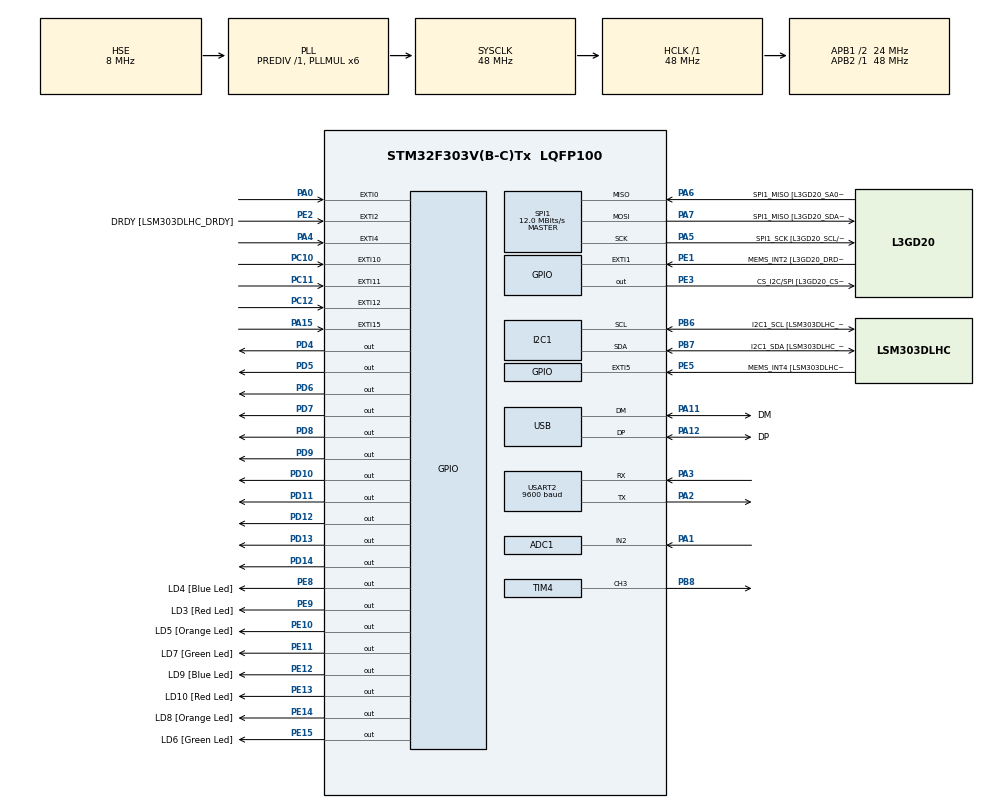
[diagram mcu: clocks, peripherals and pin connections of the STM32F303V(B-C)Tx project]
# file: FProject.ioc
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ADC1.Channel-0\#ChannelRegularConversion=ADC_CHANNEL_2
ADC1.NbrOfConversionFlag=1
ADC1.Offset-0\#ChannelRegularConversion=0
ADC1.OffsetNumber-0\#ChannelRegularConversion=ADC_OFFSET_NONE
ADC1.Rank-0\#ChannelRegularConversion=1
ADC1.SamplingTime-0\#ChannelRegularConversion=ADC_SAMPLETIME_601CYCLES_5
ADC1.SamplingTimeOPAMP-0\#ChannelRegularConversion=ADC_SAMPLETIME_19CYCLES_5
ADC1.master=1
I2C1.Timing=0x2000090E
I2C1.Timing-I2C=0x2000090E
Mcu.Family=STM32F3
Mcu.Name=STM32F303V(B-C)Tx
Mcu.Package=LQFP100
NVIC.ADC1_2_IRQn=true\:0\:0\:false\:false\:true\:true\:true\:true
NVIC.EXTI0_IRQn=true\:0\:0\:false\:false\:true\:true\:true\:true
NVIC.EXTI15_10_IRQn=true\:0\:0\:false\:false\:true\:true\:true\:true
NVIC.EXTI4_IRQn=true\:1\:0\:true\:false\:true\:true\:true\:true
NVIC.PriorityGroup=NVIC_PRIORITYGROUP_1
NVIC.TIM2_IRQn=true\:0\:0\:true\:false\:true\:true\:true\:true
NVIC.TIM3_IRQn=true\:1\:0\:true\:false\:true\:true\:true\:true
NVIC.USART2_IRQn=true\:0\:0\:false\:false\:true\:true\:true\:true
PA0.Signal=GPXTI0
PA1.Mode=IN2-Single-Ended
PA1.Signal=ADC1_IN2
PA11.GPIO_Label=DM
PA11.Mode=Device
PA11.Signal=USB_DM
PA12.GPIO_Label=DP
PA12.Mode=Device
PA12.Signal=USB_DP
PA13.GPIO_Label=SWDIO
PA13.Mode=Serial_Wire
PA13.Signal=SYS_JTMS-SWDIO
PA14.GPIO_Label=SWCLK
PA14.Mode=Serial_Wire
PA14.Signal=SYS_JTCK-SWCLK
PA15.GPIO_PuPd=GPIO_PULLDOWN
PA15.Signal=GPXTI15
PA2.Mode=Asynchronous
PA2.Signal=USART2_TX
PA3.Mode=Asynchronous
PA3.Signal=USART2_RX
PA4.Signal=GPXTI4
PA5.GPIO_Label=SPI1_SCK [L3GD20_SCL/SPC]
PA5.Mode=Full_Duplex_Master
PA5.Signal=SPI1_SCK
PA6.GPIO_Label=SPI1_MISO [L3GD20_SA0/SDO]
PA6.Mode=Full_Duplex_Master
PA6.Signal=SPI1_MISO
PA7.GPIO_Label=SPI1_MISO [L3GD20_SDA/SDI/SDO]
PA7.Mode=Full_Duplex_Master
PA7.Signal=SPI1_MOSI
PB3.GPIO_Label=SWO
PB3.Signal=SYS_JTDO-TRACESWO
PB6.GPIO_Label=I2C1_SCL [LSM303DLHC_SCL]
PB6.GPIO_Pu=GPIO_PULLUP
PB6.Mode=I2C
PB6.Signal=I2C1_SCL
PB7.GPIO_Label=I2C1_SDA [LSM303DLHC_SDA]
PB7.GPIO_Pu=GPIO_PULLUP
PB7.Mode=I2C
PB7.Signal=I2C1_SDA
PB8.Signal=S_TIM4_CH3
PC10.GPIO_PuPd=GPIO_PULLDOWN
PC10.Signal=GPXTI10
PC11.GPIO_PuPd=GPIO_PULLDOWN
PC11.Signal=GPXTI11
PC12.GPIO_PuPd=GPIO_PULLDOWN
PC12.Signal=GPXTI12
PC14-OSC32_IN.GPIO_Label=OSC32_IN
PC14-OSC32_IN.Signal=RCC_OSC32_IN
PC15-OSC32_OUT.GPIO_Label=OSC32_OUT
PC15-OSC32_OUT.Signal=RCC_OSC32_OUT
PD10.Signal=GPIO_Output
PD11.Signal=GPIO_Output
PD12.Signal=GPIO_Output
PD13.Signal=GPIO_Output
PD14.Signal=GPIO_Output
PD4.GPIO_PuPd=GPIO_NOPULL
PD4.Signal=GPIO_Output
PD5.GPIO_PuPd=GPIO_NOPULL
PD5.Signal=GPIO_Output
PD6.GPIO_PuPd=GPIO_NOPULL
PD6.Signal=GPIO_Output
PD7.GPIO_PuPd=GPIO_NOPULL
PD7.Signal=GPIO_Output
PD8.Signal=GPIO_Output
PD9.Signal=GPIO_Output
PE1.GPIO_Label=MEMS_INT2 [L3GD20_DRDY/INT2]
PE1.GPIO_ModeDefaultEXTI=GPIO_MODE_EVT_RISING
PE1.Signal=GPXTI1
PE10.GPIO_Label=LD5 [Orange Led]
PE10.Signal=GPIO_Output
PE11.GPIO_Label=LD7 [Green Led]
PE11.Signal=GPIO_Output
PE12.GPIO_Label=LD9 [Blue Led]
PE12.Signal=GPIO_Output
PE13.GPIO_Label=LD10 [Red Led]
PE13.Signal=GPIO_Output
PE14.GPIO_Label=LD8 [Orange Led]
PE14.Signal=GPIO_Output
PE15.GPIO_Label=LD6 [Green Led]
PE15.Signal=GPIO_Output
PE2.GPIO_Label=DRDY [LSM303DLHC_DRDY]
PE2.GPIO_ModeDefaultEXTI=GPIO_MODE_EVT_RISING
PE2.Signal=GPXTI2
PE3.GPIO_Label=CS_I2C/SPI [L3GD20_CS_I2C/SPI]
PE3.Signal=GPIO_Output
PE5.GPIO_Label=MEMS_INT4 [LSM303DLHC_INT2]
PE5.GPIO_ModeDefaultEXTI=GPIO_MODE_EVT_RISING
PE5.Signal=GPXTI5
PE8.GPIO_Label=LD4 [Blue Led]
PE8.Signal=GPIO_Output
PE9.GPIO_Label=LD3 [Red Led]
PE9.Signal=GPIO_Output
PF0-OSC_IN.GPIO_Label=OSC_IN
PF0-OSC_IN.Mode=HSE-External-Clock-Source
PF0-OSC_IN.Signal=RCC_OSC_IN
PF1-OSC_OUT.GPIO_Label=OSC_OUT
PF1-OSC_OUT.Signal=RCC_OSC_OUT
ProjectManager.HeapSize=0x200
ProjectManager.StackSize=0x400
ProjectManager.TargetToolchain=STM32CubeIDE
RCC.AHBFreq_Value=48000000
RCC.APB1CLKDivider=RCC_HCLK_DIV2
RCC.APB1Freq_Value=24000000
RCC.APB1TimFreq_Value=48000000
RCC.APB2Freq_Value=48000000
RCC.APB2TimFreq_Value=48000000
RCC.CortexFreq_Value=48000000
RCC.HCLKFreq_Value=48000000
RCC.HSE_VALUE=8000000
RCC.HSI_VALUE=8000000
RCC.LSE_VALUE=32768
RCC.PLLMUL=RCC_PLL_MUL6
RCC.SYSCLKFreq_VALUE=48000000
RCC.SYSCLKSourceVirtual=RCC_SYSCLKSOURCE_PLLCLK
RCC.USBFreq_Value=48000000
SH.S_TIM4_CH3.0=TIM4_CH3,PWM Generation3 CH3
SPI1.BaudRatePrescaler=SPI_BAUDRATEPRESCALER_4
SPI1.BaudRatePrescaler-Full_Duplex_Master=SPI_BAUDRATEPRESCALER_2
SPI1.CalculateBaudRate=12.0 MBits/s
SPI1.CalculateBaudRate-Full_Duplex_Master=24.0 MBits/s
SPI1.Direction=SPI_DIRECTION_2LINES
SPI1.Mode=SPI_MODE_MASTER
SPI1.Mode-Full_Duplex_Master=SPI_MODE_MASTER
SPI1.VirtualType=VM_MASTER
TIM2.Period=10000
TIM2.Prescaler=2399
TIM3.Period=9999
TIM3.Prescaler=2399
TIM4.Channel-PWM\ Generation3\ CH3=TIM_CHANNEL_3
USART2.BaudRate=9600
USART2.VirtualMode-Asynchronous=VM_ASYNC
VP_TIM2_VS_ClockSourceINT.Mode=Internal
VP_TIM3_VS_ClockSourceINT.Mode=Internal
board=STM32F3DISCOVERY

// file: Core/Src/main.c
/* USER CODE BEGIN Header */
/**
 ******************************************************************************
 * @file           : main.c
 * @brief          : Main program body
 ******************************************************************************
 * @attention
 *
 * Copyright (c) 2023 STMicroelectronics.
 * All rights reserved.
 *
 * This software is licensed under terms that can be found in the LICENSE file
 * in the root directory of this software component.
 * If no LICENSE file comes with this software, it is provided AS-IS.
 *
 ******************************************************************************
 */
/* USER CODE END Header */
#include "main.h"

/* USER CODE BEGIN Includes */
float fx = 10;
#include <stdio.h>
#include "LiquidCrystal.h"
/* USER CODE END Includes */

ADC_HandleTypeDef hadc1;

I2C_HandleTypeDef hi2c1;

SPI_HandleTypeDef hspi1;

TIM_HandleTypeDef htim2;
TIM_HandleTypeDef htim3;
TIM_HandleTypeDef htim4;

UART_HandleTypeDef huart2;

PCD_HandleTypeDef hpcd_USB_FS;

/* USER CODE BEGIN PV */
typedef enum {MAIN = 1, LED, SECURITY, SLEEP, SENARIO, TEMPRETURE,OUT,PARTY,PIR} states;
int cFlag = 1;
state = MAIN;
unsigned char str[1];
//
int digitNo = 0;
char passwd[5] = "0000";
//
TIM_HandleTypeDef *buzzerPwmTimer;
uint32_t buzzerPwmChannel;

GPIO_TypeDef *const Row_ports[] = { GPIOA, GPIOC, GPIOC, GPIOC };
const uint16_t Row_pins[] = { GPIO_PIN_15, GPIO_PIN_10, GPIO_PIN_11,
GPIO_PIN_12 };
// Output pins: Column1 PD4, Column2 PD6, Column3 PB3, Column4 PB5
GPIO_TypeDef *const Column_ports[] = { GPIOD, GPIOD, GPIOD, GPIOD };
const uint16_t Column_pins[] =
		{ GPIO_PIN_4, GPIO_PIN_5, GPIO_PIN_6, GPIO_PIN_7 };
volatile uint32_t last_gpio_exti;
/* USER CODE END PV */

void SystemClock_Config(void);
static void MX_GPIO_Init(void);
static void MX_I2C1_Init(void);
static void MX_SPI1_Init(void);
static void MX_USB_PCD_Init(void);
static void MX_ADC1_Init(void);
static void MX_USART2_UART_Init(void);
static void MX_TIM2_Init(void);
static void MX_TIM3_Init(void);
static void MX_TIM4_Init(void);

/* USER CODE BEGIN 0 */
//  HAL_ADC_Start_IT(&hadc1);
void buzzerInit() {
	buzzerPwmTimer = &htim4;
	buzzerPwmChannel = TIM_CHANNEL_3;
	HAL_TIM_PWM_Start(buzzerPwmTimer, buzzerPwmChannel);
}
//
void buzzerChangeTone(uint16_t freq, uint16_t volume) {
	if (freq == 0 || freq > 20000) {
		__HAL_TIM_SET_COMPARE(buzzerPwmTimer, buzzerPwmChannel, 0);
	} else {
		const uint32_t internalClockFreq = HAL_RCC_GetSysClockFreq();
		const uint32_t prescaler = 1 + internalClockFreq / freq / 60000;
		const uint32_t timerClock = internalClockFreq / prescaler;
		const uint32_t periodCycles = timerClock / freq;
		const uint32_t pulseWidth = volume * periodCycles / 1000 / 2;

		buzzerPwmTimer->Instance->PSC = prescaler - 1;
		buzzerPwmTimer->Instance->ARR = periodCycles - 1;
		buzzerPwmTimer->Instance->EGR = TIM_EGR_UG;

		__HAL_TIM_SET_COMPARE(buzzerPwmTimer, buzzerPwmChannel, pulseWidth);
	}
}
/* USER CODE END 0 */

int main(void)
{

  /* MCU Configuration--------------------------------------------------------*/

  /* Reset of all peripherals, Initializes the Flash interface and the Systick. */
  HAL_Init();

  /* Configure the system clock */
  SystemClock_Config();

  /* Initialize all configured peripherals */
  MX_GPIO_Init();
  MX_I2C1_Init();
  MX_SPI1_Init();
  MX_USB_PCD_Init();
  MX_ADC1_Init();
  MX_USART2_UART_Init();
  MX_TIM2_Init();
  MX_TIM3_Init();
  MX_TIM4_Init();
  /* USER CODE BEGIN 2 */

	LiquidCrystal(GPIOD, GPIO_PIN_8, GPIO_PIN_9, GPIO_PIN_10, GPIO_PIN_11,
	GPIO_PIN_12, GPIO_PIN_13, GPIO_PIN_14);
	begin(20, 4);
//	clear();
//	print("Hello, World!");
//	HAL_Delay(1000);
//	clear();
//	print("hey");
	HAL_TIM_Base_Start_IT(&htim2);
	HAL_TIM_Base_Start_IT(&htim3);
//	HAL_TIM_Base_Start_IT(&htim4);

	HAL_TIM_PWM_Start(&htim4, TIM_CHANNEL_3);
	buzzerInit();
//	buzzerChangeTone(100, 10);
	HAL_GPIO_WritePin(GPIOD, GPIO_PIN_4 | GPIO_PIN_5 | GPIO_PIN_6 | GPIO_PIN_7,
			1);

  /* USER CODE END 2 */

  /* Infinite loop */
  /* USER CODE BEGIN WHILE */
	HAL_ADC_Start_IT(&hadc1);

	while (1) {
    /* USER CODE END WHILE */

    /* USER CODE BEGIN 3 */
		// HAL_UART_Transmit(&huart2,data,n,1000);
	}
  /* USER CODE END 3 */
}

void SystemClock_Config(void)
{
  RCC_OscInitTypeDef RCC_OscInitStruct = {0};
  RCC_ClkInitTypeDef RCC_ClkInitStruct = {0};
  RCC_PeriphCLKInitTypeDef PeriphClkInit = {0};

  /** Initializes the RCC Oscillators according to the specified parameters
  * in the RCC_OscInitTypeDef structure.
  */
  RCC_OscInitStruct.OscillatorType = RCC_OSCILLATORTYPE_HSI|RCC_OSCILLATORTYPE_HSE;
  RCC_OscInitStruct.HSEState = RCC_HSE_BYPASS;
  RCC_OscInitStruct.HSEPredivValue = RCC_HSE_PREDIV_DIV1;
  RCC_OscInitStruct.HSIState = RCC_HSI_ON;
  RCC_OscInitStruct.HSICalibrationValue = RCC_HSICALIBRATION_DEFAULT;
  RCC_OscInitStruct.PLL.PLLState = RCC_PLL_ON;
  RCC_OscInitStruct.PLL.PLLSource = RCC_PLLSOURCE_HSE;
  RCC_OscInitStruct.PLL.PLLMUL = RCC_PLL_MUL6;
  if (HAL_RCC_OscConfig(&RCC_OscInitStruct) != HAL_OK)
  {
    Error_Handler();
  }

  /** Initializes the CPU, AHB and APB buses clocks
  */
  RCC_ClkInitStruct.ClockType = RCC_CLOCKTYPE_HCLK|RCC_CLOCKTYPE_SYSCLK
                              |RCC_CLOCKTYPE_PCLK1|RCC_CLOCKTYPE_PCLK2;
  RCC_ClkInitStruct.SYSCLKSource = RCC_SYSCLKSOURCE_PLLCLK;
  RCC_ClkInitStruct.AHBCLKDivider = RCC_SYSCLK_DIV1;
  RCC_ClkInitStruct.APB1CLKDivider = RCC_HCLK_DIV2;
  RCC_ClkInitStruct.APB2CLKDivider = RCC_HCLK_DIV1;

  if (HAL_RCC_ClockConfig(&RCC_ClkInitStruct, FLASH_LATENCY_1) != HAL_OK)
  {
    Error_Handler();
  }
  PeriphClkInit.PeriphClockSelection = RCC_PERIPHCLK_USB|RCC_PERIPHCLK_USART2
                              |RCC_PERIPHCLK_I2C1|RCC_PERIPHCLK_ADC12;
  PeriphClkInit.Usart2ClockSelection = RCC_USART2CLKSOURCE_PCLK1;
  PeriphClkInit.Adc12ClockSelection = RCC_ADC12PLLCLK_DIV1;
  PeriphClkInit.I2c1ClockSelection = RCC_I2C1CLKSOURCE_HSI;
  PeriphClkInit.USBClockSelection = RCC_USBCLKSOURCE_PLL;
  if (HAL_RCCEx_PeriphCLKConfig(&PeriphClkInit) != HAL_OK)
  {
    Error_Handler();
  }
}

static void MX_ADC1_Init(void)
{

  ADC_MultiModeTypeDef multimode = {0};
  ADC_ChannelConfTypeDef sConfig = {0};

  /** Common config
  */
  hadc1.Instance = ADC1;
  hadc1.Init.ClockPrescaler = ADC_CLOCK_ASYNC_DIV1;
  hadc1.Init.Resolution = ADC_RESOLUTION_12B;
  hadc1.Init.ScanConvMode = ADC_SCAN_DISABLE;
  hadc1.Init.ContinuousConvMode = DISABLE;
  hadc1.Init.DiscontinuousConvMode = DISABLE;
  hadc1.Init.ExternalTrigConvEdge = ADC_EXTERNALTRIGCONVEDGE_NONE;
  hadc1.Init.ExternalTrigConv = ADC_SOFTWARE_START;
  hadc1.Init.DataAlign = ADC_DATAALIGN_RIGHT;
  hadc1.Init.NbrOfConversion = 1;
  hadc1.Init.DMAContinuousRequests = DISABLE;
  hadc1.Init.EOCSelection = ADC_EOC_SINGLE_CONV;
  hadc1.Init.LowPowerAutoWait = DISABLE;
  hadc1.Init.Overrun = ADC_OVR_DATA_OVERWRITTEN;
  if (HAL_ADC_Init(&hadc1) != HAL_OK)
  {
    Error_Handler();
  }

  /** Configure the ADC multi-mode
  */
  multimode.Mode = ADC_MODE_INDEPENDENT;
  if (HAL_ADCEx_MultiModeConfigChannel(&hadc1, &multimode) != HAL_OK)
  {
    Error_Handler();
  }

  /** Configure Regular Channel
  */
  sConfig.Channel = ADC_CHANNEL_2;
  sConfig.Rank = ADC_REGULAR_RANK_1;
  sConfig.SingleDiff = ADC_SINGLE_ENDED;
  sConfig.SamplingTime = ADC_SAMPLETIME_601CYCLES_5;
  sConfig.OffsetNumber = ADC_OFFSET_NONE;
  sConfig.Offset = 0;
  if (HAL_ADC_ConfigChannel(&hadc1, &sConfig) != HAL_OK)
  {
    Error_Handler();
  }

}

static void MX_I2C1_Init(void)
{

  hi2c1.Instance = I2C1;
  hi2c1.Init.Timing = 0x2000090E;
  hi2c1.Init.OwnAddress1 = 0;
  hi2c1.Init.AddressingMode = I2C_ADDRESSINGMODE_7BIT;
  hi2c1.Init.DualAddressMode = I2C_DUALADDRESS_DISABLE;
  hi2c1.Init.OwnAddress2 = 0;
  hi2c1.Init.OwnAddress2Masks = I2C_OA2_NOMASK;
  hi2c1.Init.GeneralCallMode = I2C_GENERALCALL_DISABLE;
  hi2c1.Init.NoStretchMode = I2C_NOSTRETCH_DISABLE;
  if (HAL_I2C_Init(&hi2c1) != HAL_OK)
  {
    Error_Handler();
  }

  /** Configure Analogue filter
  */
  if (HAL_I2CEx_ConfigAnalogFilter(&hi2c1, I2C_ANALOGFILTER_ENABLE) != HAL_OK)
  {
    Error_Handler();
  }

  /** Configure Digital filter
  */
  if (HAL_I2CEx_ConfigDigitalFilter(&hi2c1, 0) != HAL_OK)
  {
    Error_Handler();
  }

}

static void MX_SPI1_Init(void)
{

  /* SPI1 parameter configuration*/
  hspi1.Instance = SPI1;
  hspi1.Init.Mode = SPI_MODE_MASTER;
  hspi1.Init.Direction = SPI_DIRECTION_2LINES;
  hspi1.Init.DataSize = SPI_DATASIZE_4BIT;
  hspi1.Init.CLKPolarity = SPI_POLARITY_LOW;
  hspi1.Init.CLKPhase = SPI_PHASE_1EDGE;
  hspi1.Init.NSS = SPI_NSS_SOFT;
  hspi1.Init.BaudRatePrescaler = SPI_BAUDRATEPRESCALER_4;
  hspi1.Init.FirstBit = SPI_FIRSTBIT_MSB;
  hspi1.Init.TIMode = SPI_TIMODE_DISABLE;
  hspi1.Init.CRCCalculation = SPI_CRCCALCULATION_DISABLE;
  hspi1.Init.CRCPolynomial = 7;
  hspi1.Init.CRCLength = SPI_CRC_LENGTH_DATASIZE;
  hspi1.Init.NSSPMode = SPI_NSS_PULSE_ENABLE;
  if (HAL_SPI_Init(&hspi1) != HAL_OK)
  {
    Error_Handler();
  }

}

static void MX_TIM2_Init(void)
{

  TIM_ClockConfigTypeDef sClockSourceConfig = {0};
  TIM_MasterConfigTypeDef sMasterConfig = {0};

  htim2.Instance = TIM2;
  htim2.Init.Prescaler = 2399;
  htim2.Init.CounterMode = TIM_COUNTERMODE_UP;
  htim2.Init.Period = 10000;
  htim2.Init.ClockDivision = TIM_CLOCKDIVISION_DIV1;
  htim2.Init.AutoReloadPreload = TIM_AUTORELOAD_PRELOAD_DISABLE;
  if (HAL_TIM_Base_Init(&htim2) != HAL_OK)
  {
    Error_Handler();
  }
  sClockSourceConfig.ClockSource = TIM_CLOCKSOURCE_INTERNAL;
  if (HAL_TIM_ConfigClockSource(&htim2, &sClockSourceConfig) != HAL_OK)
  {
    Error_Handler();
  }
  sMasterConfig.MasterOutputTrigger = TIM_TRGO_RESET;
  sMasterConfig.MasterSlaveMode = TIM_MASTERSLAVEMODE_DISABLE;
  if (HAL_TIMEx_MasterConfigSynchronization(&htim2, &sMasterConfig) != HAL_OK)
  {
    Error_Handler();
  }

}

static void MX_TIM3_Init(void)
{

  TIM_ClockConfigTypeDef sClockSourceConfig = {0};
  TIM_MasterConfigTypeDef sMasterConfig = {0};

  htim3.Instance = TIM3;
  htim3.Init.Prescaler = 2399;
  htim3.Init.CounterMode = TIM_COUNTERMODE_UP;
  htim3.Init.Period = 9999;
  htim3.Init.ClockDivision = TIM_CLOCKDIVISION_DIV1;
  htim3.Init.AutoReloadPreload = TIM_AUTORELOAD_PRELOAD_DISABLE;
  if (HAL_TIM_Base_Init(&htim3) != HAL_OK)
  {
    Error_Handler();
  }
  sClockSourceConfig.ClockSource = TIM_CLOCKSOURCE_INTERNAL;
  if (HAL_TIM_ConfigClockSource(&htim3, &sClockSourceConfig) != HAL_OK)
  {
    Error_Handler();
  }
  sMasterConfig.MasterOutputTrigger = TIM_TRGO_RESET;
  sMasterConfig.MasterSlaveMode = TIM_MASTERSLAVEMODE_DISABLE;
  if (HAL_TIMEx_MasterConfigSynchronization(&htim3, &sMasterConfig) != HAL_OK)
  {
    Error_Handler();
  }

}

static void MX_TIM4_Init(void)
{

  TIM_MasterConfigTypeDef sMasterConfig = {0};
  TIM_OC_InitTypeDef sConfigOC = {0};

  htim4.Instance = TIM4;
  htim4.Init.Prescaler = 0;
  htim4.Init.CounterMode = TIM_COUNTERMODE_UP;
  htim4.Init.Period = 65535;
  htim4.Init.ClockDivision = TIM_CLOCKDIVISION_DIV1;
  htim4.Init.AutoReloadPreload = TIM_AUTORELOAD_PRELOAD_DISABLE;
  if (HAL_TIM_PWM_Init(&htim4) != HAL_OK)
  {
    Error_Handler();
  }
  sMasterConfig.MasterOutputTrigger = TIM_TRGO_RESET;
  sMasterConfig.MasterSlaveMode = TIM_MASTERSLAVEMODE_DISABLE;
  if (HAL_TIMEx_MasterConfigSynchronization(&htim4, &sMasterConfig) != HAL_OK)
  {
    Error_Handler();
  }
  sConfigOC.OCMode = TIM_OCMODE_PWM1;
  sConfigOC.Pulse = 0;
  sConfigOC.OCPolarity = TIM_OCPOLARITY_HIGH;
  sConfigOC.OCFastMode = TIM_OCFAST_DISABLE;
  if (HAL_TIM_PWM_ConfigChannel(&htim4, &sConfigOC, TIM_CHANNEL_3) != HAL_OK)
  {
    Error_Handler();
  }
  HAL_TIM_MspPostInit(&htim4);

}

static void MX_USART2_UART_Init(void)
{

  huart2.Instance = USART2;
  huart2.Init.BaudRate = 9600;
  huart2.Init.WordLength = UART_WORDLENGTH_8B;
  huart2.Init.StopBits = UART_STOPBITS_1;
  huart2.Init.Parity = UART_PARITY_NONE;
  huart2.Init.Mode = UART_MODE_TX_RX;
  huart2.Init.HwFlowCtl = UART_HWCONTROL_NONE;
  huart2.Init.OverSampling = UART_OVERSAMPLING_16;
  huart2.Init.OneBitSampling = UART_ONE_BIT_SAMPLE_DISABLE;
  huart2.AdvancedInit.AdvFeatureInit = UART_ADVFEATURE_NO_INIT;
  if (HAL_UART_Init(&huart2) != HAL_OK)
  {
    Error_Handler();
  }

}

static void MX_USB_PCD_Init(void)
{

  hpcd_USB_FS.Instance = USB;
  hpcd_USB_FS.Init.dev_endpoints = 8;
  hpcd_USB_FS.Init.speed = PCD_SPEED_FULL;
  hpcd_USB_FS.Init.phy_itface = PCD_PHY_EMBEDDED;
  hpcd_USB_FS.Init.low_power_enable = DISABLE;
  hpcd_USB_FS.Init.battery_charging_enable = DISABLE;
  if (HAL_PCD_Init(&hpcd_USB_FS) != HAL_OK)
  {
    Error_Handler();
  }

}

static void MX_GPIO_Init(void)
{
  GPIO_InitTypeDef GPIO_InitStruct = {0};

  /* GPIO Ports Clock Enable */
  __HAL_RCC_GPIOE_CLK_ENABLE();
  __HAL_RCC_GPIOC_CLK_ENABLE();
  __HAL_RCC_GPIOF_CLK_ENABLE();
  __HAL_RCC_GPIOA_CLK_ENABLE();
  __HAL_RCC_GPIOD_CLK_ENABLE();
  __HAL_RCC_GPIOB_CLK_ENABLE();

  /*Configure GPIO pin Output Level */
  HAL_GPIO_WritePin(GPIOE, CS_I2C_SPI_Pin|LD4_Pin|LD3_Pin|LD5_Pin
                          |LD7_Pin|LD9_Pin|LD10_Pin|LD8_Pin
                          |LD6_Pin, GPIO_PIN_RESET);

  /*Configure GPIO pin Output Level */
  HAL_GPIO_WritePin(GPIOD, GPIO_PIN_8|GPIO_PIN_9|GPIO_PIN_10|GPIO_PIN_11
                          |GPIO_PIN_12|GPIO_PIN_13|GPIO_PIN_14|GPIO_PIN_4
                          |GPIO_PIN_5|GPIO_PIN_6|GPIO_PIN_7, GPIO_PIN_RESET);

  /*Configure GPIO pins : DRDY_Pin MEMS_INT4_Pin MEMS_INT2_Pin */
  GPIO_InitStruct.Pin = DRDY_Pin|MEMS_INT4_Pin|MEMS_INT2_Pin;
  GPIO_InitStruct.Mode = GPIO_MODE_EVT_RISING;
  GPIO_InitStruct.Pull = GPIO_NOPULL;
  HAL_GPIO_Init(GPIOE, &GPIO_InitStruct);

  /*Configure GPIO pins : CS_I2C_SPI_Pin LD4_Pin LD3_Pin LD5_Pin
                           LD7_Pin LD9_Pin LD10_Pin LD8_Pin
                           LD6_Pin */
  GPIO_InitStruct.Pin = CS_I2C_SPI_Pin|LD4_Pin|LD3_Pin|LD5_Pin
                          |LD7_Pin|LD9_Pin|LD10_Pin|LD8_Pin
                          |LD6_Pin;
  GPIO_InitStruct.Mode = GPIO_MODE_OUTPUT_PP;
  GPIO_InitStruct.Pull = GPIO_NOPULL;
  GPIO_InitStruct.Speed = GPIO_SPEED_FREQ_LOW;
  HAL_GPIO_Init(GPIOE, &GPIO_InitStruct);

  /*Configure GPIO pins : PA0 PA4 */
  GPIO_InitStruct.Pin = GPIO_PIN_0|GPIO_PIN_4;
  GPIO_InitStruct.Mode = GPIO_MODE_IT_RISING;
  GPIO_InitStruct.Pull = GPIO_NOPULL;
  HAL_GPIO_Init(GPIOA, &GPIO_InitStruct);

  /*Configure GPIO pins : PD8 PD9 PD10 PD11
                           PD12 PD13 PD14 PD4
                           PD5 PD6 PD7 */
  GPIO_InitStruct.Pin = GPIO_PIN_8|GPIO_PIN_9|GPIO_PIN_10|GPIO_PIN_11
                          |GPIO_PIN_12|GPIO_PIN_13|GPIO_PIN_14|GPIO_PIN_4
                          |GPIO_PIN_5|GPIO_PIN_6|GPIO_PIN_7;
  GPIO_InitStruct.Mode = GPIO_MODE_OUTPUT_PP;
  GPIO_InitStruct.Pull = GPIO_NOPULL;
  GPIO_InitStruct.Speed = GPIO_SPEED_FREQ_LOW;
  HAL_GPIO_Init(GPIOD, &GPIO_InitStruct);

  /*Configure GPIO pin : PA15 */
  GPIO_InitStruct.Pin = GPIO_PIN_15;
  GPIO_InitStruct.Mode = GPIO_MODE_IT_RISING;
  GPIO_InitStruct.Pull = GPIO_PULLDOWN;
  HAL_GPIO_Init(GPIOA, &GPIO_InitStruct);

  /*Configure GPIO pins : PC10 PC11 PC12 */
  GPIO_InitStruct.Pin = GPIO_PIN_10|GPIO_PIN_11|GPIO_PIN_12;
  GPIO_InitStruct.Mode = GPIO_MODE_IT_RISING;
  GPIO_InitStruct.Pull = GPIO_PULLDOWN;
  HAL_GPIO_Init(GPIOC, &GPIO_InitStruct);

  /* EXTI interrupt init*/
  HAL_NVIC_SetPriority(EXTI0_IRQn, 0, 0);
  HAL_NVIC_EnableIRQ(EXTI0_IRQn);

  HAL_NVIC_SetPriority(EXTI4_IRQn, 1, 0);
  HAL_NVIC_EnableIRQ(EXTI4_IRQn);

  HAL_NVIC_SetPriority(EXTI15_10_IRQn, 0, 0);
  HAL_NVIC_EnableIRQ(EXTI15_10_IRQn);

}

/* USER CODE BEGIN 4 */
char enter[1]="Hi";
void HAL_UART_RxCpltCallback(UART_HandleTypeDef *huart) {
	if (huart->Instance == USART2) {

		HAL_UART_Receive_IT(&huart2, str, sizeof(str));
		//HAL_UART_Transmit(&huart2, enter, sizeof(enter), 1000);
		//HAL_UART_Receive_IT(&huart2, enter, sizeof(enter));

	}
}
uint8_t temp_x0 = 0;
uint8_t temp_x1 = 0;

void HAL_ADC_ConvCpltCallback(ADC_HandleTypeDef *hadc) {
	//int last;
	if (hadc->Instance == ADC1) {
		HAL_ADC_IRQHandler(&hadc1);
		/* USER CODE BEGIN ADC1_2_IRQn 1 */

		int x = HAL_ADC_GetValue(&hadc1);
		fx = ((float) x * 330 / 4095);
		unsigned char data[100] = "SALAM";
		int n = sprintf(data, "%d  %.4f\n", x, fx);
		//HAL_UART_Transmit(&huart2, data, n, 1000);

//    		if(HAL_GetTick() - last < 200){
//    		    	 			 return ;
//    		    	 		 }else{
//    		    	 			x=HAL_ADC_GetValue(&hadc1);
//    		    	 		 }
//    		HAL_Delay(10);
    		HAL_ADC_Start_IT(&hadc1);
//    		last = HAL_GetTick();

	}
}
//void HAL_GPIO_EXTI_Callback(uint16_t GPIO_Pin)
//{
//    if (GPIO_Pin == GPIO_PIN_4)
//    {
//        HAL_GPIO_WritePin(GPIOE, GPIO_PIN_12, 1);
//    }
//    else {
//
//    }
//}
int led8=0;
int led9=0;
int led11=0;
int led12=0;
int melodyt=0;
float lastfx = 0;
int temp_treshold=30;
void HAL_TIM_PeriodElapsedCallback(TIM_HandleTypeDef *htim)
{
//	static int counter = 0;
	static int timer = 0;

	if (htim->Instance == TIM2){
		melodyt+=1;
		if (state == SLEEP){
			Sleep_melody();
		}

		 // HAL_UART_Transmit(&huart2, enter, sizeof(enter ), 1000);
		    //
//			if (timer==20){
//				setADC_value();
//			    displyLCD();
//				HAL_GPIO_TogglePin(GPIOE, GPIO_PIN_13);
//				timer=0;
//
//			}
//		    timer++;
//			if (lastfx > 30) {
//			setCursor(10, 1);
//			print("Warning !!");
//			buzzerChangeTone(300, 50);
//
//			} else {
//	//		if (cFlag)
//			setCursor(10, 1);
//			print("          ");
//			buzzerChangeTone(0, 50);
//			}
//			lastfx = fx;

	}
	else if (htim->Instance == TIM3)
    {
		if (timer==15){
			setADC_value();
		    displyLCD();
			HAL_GPIO_TogglePin(GPIOE, GPIO_PIN_13);
			timer=0;

		}
	    timer++;
    	if(state == MAIN){
//    		if (counter == 100){
    		if(cFlag){
    			clear();
    			print("Hello");
    			setCursor(1, 1);
    			print("MICRO Project");
    			cFlag = 0;
    		}
    	}
    	else if(state==LED){
    		if (cFlag){
    			clear();
    			print(" LED :)");
    			setCursor(0, 1);
    			print("1.Led8    2.Led9    3.Led11   4.Led12");

    		}
    	}
    	else if(state == SECURITY){
    		if (cFlag){
    			clear();
    			print(" Security *");
    			buzzerChangeTone(0, 50);
    			setCursor(3, 1);
    			print("PIR Alarm");
    		}
    	}
    	else if(state == SLEEP){
    		if (cFlag){
    			clear();
    			buzzerChangeTone(0, 0);
    			setCursor(5, 3);
    			print(" SLEEP ");

    		}
    	}
    	else if(state == SENARIO){
    		if (cFlag){
    			clear();
    			print("Choose Senario");
    			setCursor(0, 1);
    			print("11:Go out           12:Party");

    		}
    	}
    	else if(state == TEMPRETURE){
    		if (cFlag){
    			clear();
    			print("Temperature");
    			//setADC_value();
    			char dis[20];
    			sprintf(dis, "%.2f", fx);
    			setCursor(1, 1);
    			print(dis);

    		}
    	}
    	else if(state == OUT){
    		if (cFlag){
    			setCursor(0, 1);
    			print("11:Go out <<");
    			HAL_GPIO_WritePin(GPIOE, GPIO_PIN_All, 0);

    		}
    	}
    	else if(state == PARTY){
    		if (cFlag){
    			setCursor(0, 3);
    			print("12:Party <<");
    			HAL_GPIO_TogglePin(GPIOE, GPIO_PIN_All);

    		}
    	}
    	else if(state == PIR){
    		if (cFlag){
    			//clear();
    			buzzerChangeTone(0, 50);
    			setCursor(3, 2);
    			print("SET PIR");
    		}
    	}
    	cFlag = 0;
    }
}
uint8_t temp;

extern void setADC_value() {
//	 x = HAL_ADC_GetValue(&hadc1);
//	    		float fx=((float)x*100/4095);
//	    		unsigned char data[100]="SALAM";
//
//	    		int n=sprintf(data,"%d  %.4f\n",x,fx);
////	    		temp = x *330 /4095;
//				temp_x0 = (int) temp % 10;
//				temp_x1 = ((int) (temp / 10)) % 10;
//
//	    		HAL_UART_Transmit(&huart2,temp_x0,sizeof(temp_x0),1000);

	HAL_ADC_Start_IT(&hadc1);

}
extern void displyLCD() {

    if(state ==TEMPRETURE){
    	char dis[20];
    	sprintf(dis, "%.2f", fx);
    	setCursor(1, 1);
    	print(dis);
		setCursor(10, 1);
		print("          ");
    }
	if (lastfx > 40) {
		setCursor(10, 1);
		print("Warning !!");
		buzzerChangeTone(140, 50);

	} else {
//		if (cFlag)
		setCursor(10, 1);
//		print("          ");
		buzzerChangeTone(0, 50);
	}
	lastfx = fx;

}

void HAL_GPIO_EXTI_Callback(uint16_t GPIO_Pin) {
	static uint32_t deb = 0;

	  if (GPIO_Pin == GPIO_PIN_0){
		  state=4;
		  cFlag=1;

	  }
	  else if (GPIO_Pin == GPIO_PIN_4)
	    {

	        if (HAL_GetTick() - deb > 200){
	        	if(state==PIR){
		        	HAL_GPIO_TogglePin(GPIOE, GPIO_PIN_13);
		        	buzzerChangeTone(88, 50);
		        	state=3;
		        	cFlag=1;
	        	}
            }
	        deb = HAL_GetTick();
	    }
	  else if (last_gpio_exti + 200 < HAL_GetTick()) // Simple button debouncing
			{

		last_gpio_exti = HAL_GetTick();
		//HAL_GPIO_TogglePin(GPIOE, GPIO_PIN_8);

		int8_t row_number = -1;
		int8_t column_number = -1;

		if (GPIO_Pin == GPIO_PIN_0) {
			// blue_button_pressed = 1;
			// return;
		}

		for (uint8_t row = 0; row < 4; row++) // Loop through Rows
				{
			if (GPIO_Pin == Row_pins[row]) {
				row_number = row;

			}
		}

		HAL_GPIO_WritePin(Column_ports[0], Column_pins[0], 0);
		HAL_GPIO_WritePin(Column_ports[1], Column_pins[1], 0);
		HAL_GPIO_WritePin(Column_ports[2], Column_pins[2], 0);
		HAL_GPIO_WritePin(Column_ports[3], Column_pins[3], 0);

		for (uint8_t col = 0; col < 4; col++) // Loop through Columns
				{
			HAL_GPIO_WritePin(Column_ports[col], Column_pins[col], 1);
			if (HAL_GPIO_ReadPin(Row_ports[row_number], Row_pins[row_number])) {
				column_number = col;
			}
			HAL_GPIO_WritePin(Column_ports[col], Column_pins[col], 0);
		}

		HAL_GPIO_WritePin(Column_ports[0], Column_pins[0], 1);
		HAL_GPIO_WritePin(Column_ports[1], Column_pins[1], 1);
		HAL_GPIO_WritePin(Column_ports[2], Column_pins[2], 1);
		HAL_GPIO_WritePin(Column_ports[3], Column_pins[3], 1);

		if (row_number == -1 || column_number == -1) {
			return; // Reject invalid scan
		}
		//   C0   C1   C2   C3
		// +----+----+----+----+
		// | 1  | 2  | 3  | 4  |  R0
		// +----+----+----+----+
		// | 5  | 6  | 7  | 8  |  R1
		// +----+----+----+----+
		// | 9  | 10 | 11 | 12 |  R2
		// +----+----+----+----+
		// | 13 | 14 | 15 | 16 |  R3
		// +----+----+----+----+
		const uint8_t button_number = row_number * 4 + column_number + 1;
		switch (button_number) {

		case 1:
			/* code */
			passwd[digitNo] = '1';
			digitNo += 1;
			//HAL_GPIO_TogglePin(GPIOE, GPIO_PIN_10);
			if(state==LED){
				led8=1-led8;
				HAL_GPIO_WritePin(GPIOE, GPIO_PIN_8, led8);
				HAL_UART_Transmit(&huart2, "LED 8", 15, 1000);
			}

			break;
		case 2:
			/* code */
			passwd[digitNo] = '2';
			digitNo += 1;
			HAL_GPIO_TogglePin(GPIOE, GPIO_PIN_10);
			if(state==MAIN){
				state=2;
				cFlag = 1;
				HAL_UART_Transmit(&huart2, "chose LED", sizeof("chose LED"), 1000);
			}
			else if(state==LED){
				led9=1-led9;
				HAL_GPIO_WritePin(GPIOE, GPIO_PIN_9, led9);
				HAL_UART_Transmit(&huart2, "LED 9", 15, 1000);
			}
			break;
		case 3:
			/* code */
			passwd[digitNo] = '3';
			digitNo += 1;
			//HAL_GPIO_TogglePin(GPIOE, GPIO_PIN_10);
			if(state==MAIN){
				state=3;
				cFlag = 1;
			}else if(state==LED){
				led11=1-led11;
				HAL_GPIO_WritePin(GPIOE, GPIO_PIN_11, led11);
				HAL_UART_Transmit(&huart2, "LED 11", sizeof("LED 11"), 1000);
			}
			break;
		case 4:
			/* code */
			passwd[digitNo] = '4';
			digitNo += 1;
			//HAL_GPIO_TogglePin(GPIOE, GPIO_PIN_10);
			if(state==MAIN){
				state=4;
				cFlag = 1;
				Sleep_melody();
			}else if(state==LED){
				led12=1-led12;
				HAL_GPIO_WritePin(GPIOE, GPIO_PIN_12, led12);
				HAL_UART_Transmit(&huart2, "LED 12", sizeof("LED 12"), 1000);

			}
			break;
		case 5:
			/* code */
			passwd[digitNo] = '5';
			digitNo += 1;
			HAL_GPIO_TogglePin(GPIOE, GPIO_PIN_10);
			if(state==MAIN){
				state=5;
				cFlag = 1;
				HAL_UART_Transmit(&huart2, "Chose senario ", 15, 1000);
			}
			break;
		case 6:
			/* code */
			passwd[digitNo] = '6';
			digitNo += 1;
			HAL_GPIO_TogglePin(GPIOE, GPIO_PIN_10);
			if(state==MAIN){
				state=6;
				cFlag = 1;
				HAL_UART_Transmit(&huart2, "show temperature", 15, 1000);
			}
			break;
		case 7:
			/* code */
			passwd[digitNo] = '7';
			digitNo += 1;
			HAL_GPIO_TogglePin(GPIOE, GPIO_PIN_10);
			break;
		case 8:
			/* code */
			passwd[digitNo] = '8';
			digitNo += 1;
			HAL_GPIO_TogglePin(GPIOE, GPIO_PIN_10);
			break;
		case 9:
			/* code */
			passwd[digitNo] = '9';
			digitNo += 1;
			HAL_GPIO_TogglePin(GPIOE, GPIO_PIN_10);
			if(state==MAIN){
				state=9;
				cFlag = 1;
				HAL_UART_Transmit(&huart2, "PIR Set ", sizeof("chose LED"), 1000);
			}
			break;
		case 10:
			/* code */
			passwd[digitNo] = '0';
			digitNo += 1;
			HAL_GPIO_TogglePin(GPIOE, GPIO_PIN_10);

			}
			break;
		case 11:
			/* code */
			//HAL_GPIO_TogglePin(GPIOE, GPIO_PIN_10);
			//setCursor(0, 1);
			if(state==SENARIO || state==PARTY ){
				state=7;
				cFlag=1;
				HAL_UART_Transmit(&huart2, "senario Go out", sizeof("senario Go out"), 1000);

			}
			break;
		case 12:
			/* code */
			//HAL_GPIO_TogglePin(GPIOE, GPIO_PIN_10);
			if(state==SENARIO || state==PARTY || state==OUT){
				state=8;
				cFlag=1;
				HAL_UART_Transmit(&huart2, "senario Party", sizeof("senario Party"), 1000);

			}
			break;
		case 13:
			/* code */
			HAL_GPIO_TogglePin(GPIOE, GPIO_PIN_10);
			if(state==TEMPRETURE){
				state=6;
				cFlag = 1;
				HAL_UART_Transmit(&huart2, "Set Threshold temperature", 15, 1000);
				temp_treshold+=1;
				HAL_UART_Transmit(&huart2, "increase Threshold temperature", 15, 1000);
			}

			break;
		case 14:
			/* code */
			HAL_GPIO_TogglePin(GPIOE, GPIO_PIN_10);
			if(state==TEMPRETURE){
							state=6;
							cFlag = 1;
							HAL_UART_Transmit(&huart2, "Set Threshold temperature", 15, 1000);
							temp_treshold-=1;
							HAL_UART_Transmit(&huart2, "decrease Threshold temperature", 15, 1000);
			}
			break;
		case 15:
			/* code */
			HAL_GPIO_TogglePin(GPIOE, GPIO_PIN_10);
			break;
		case 16:
			/* code */
			HAL_GPIO_TogglePin(GPIOE, GPIO_PIN_10);
			state = 1;
			cFlag = 1;
			HAL_UART_Transmit(&huart2, "Back Main Home", 15, 1000);
			break;

		default:
			break;
		}
	}
}
void Sleep_melody(){
	if (melodyt % 3 ==0 ){
	  buzzerChangeTone(33, 50);
	}
	//HAL_Delay(200);
	else if(melodyt % 3 ==1 ){
	buzzerChangeTone(123, 50);
	}
	//HAL_Delay(150);
	else if(melodyt % 3 ==2 ){
	buzzerChangeTone(87, 50);
	}
}

/* USER CODE END 4 */

void Error_Handler(void)
{
	__disable_irq();
	while (1) {
	}
}
